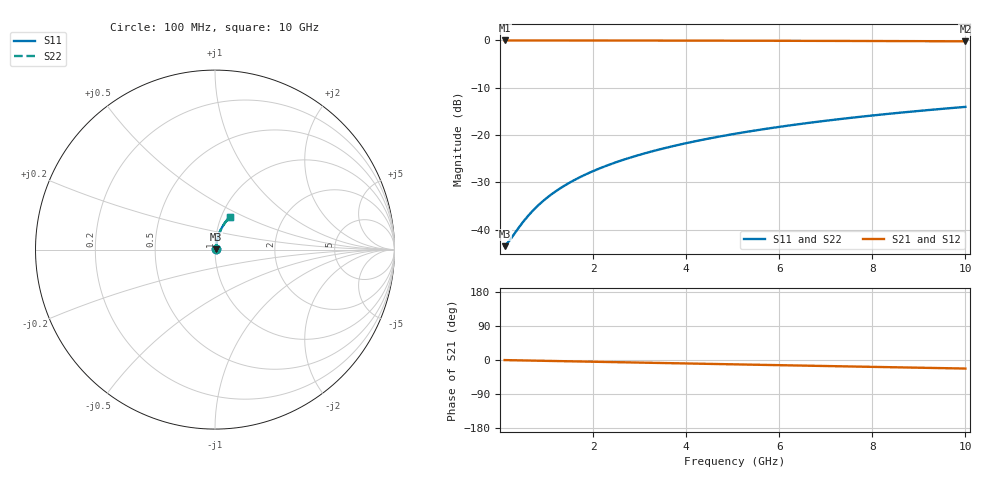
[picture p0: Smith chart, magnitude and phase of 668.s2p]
# Hz S RI R 50.00
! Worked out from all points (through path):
!   100 points, 100 MHz to 10 GHz, reference 50 ohm
!   highest |S21| = -0.06 dB at 100 MHz (marker M1); lowest = -0.2 dB at 10 GHz (marker M2)
!   group delay of S21, straight-line fit = 6.27 ps
!   lowest |S11| = -43.4 dB at 100 MHz (marker M3), VSWR 1.01, Z = 50.6 + j0.206 ohm
!   |S11| at or under -10 dB: start of sweep to end of sweep
!   |S22| runs from -43.4 to -14.1 dB; largest |S21 - S12| = 0
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1e8  0.00642 0.00203  0.9936 -0.00396  0.9936 -0.00396  0.00642 0.00203
2e8  0.00649 0.00406  0.9935 -0.00791  0.9935 -0.00791  0.00649 0.00406
4e8  0.00664 0.00812  0.9933 -0.0158  0.9933 -0.0158  0.00664 0.00812
5e8  0.00673 0.0102  0.9932 -0.0198  0.9932 -0.0198  0.00673 0.0102
6e8  0.00684 0.0122  0.9931 -0.0237  0.9931 -0.0237  0.00684 0.0122
7e8  0.00696 0.0142  0.9929 -0.0277  0.9929 -0.0277  0.00696 0.0142
9e8  0.00725 0.0183  0.9926 -0.0356  0.9926 -0.0356  0.00725 0.0183
1.1e9  0.0076 0.0223  0.9922 -0.0435  0.9922 -0.0435  0.0076 0.0223
1.3e9  0.00801 0.0263  0.9917 -0.0514  0.9917 -0.0514  0.00801 0.0263
1.5e9  0.00848 0.0304  0.9911 -0.0593  0.9911 -0.0593  0.00848 0.0304
1.8e9  0.00931 0.0364  0.9901 -0.0711  0.9901 -0.0711  0.00931 0.0364
2.1e9  0.0103 0.0424  0.9889 -0.0829  0.9889 -0.0829  0.0103 0.0424
2.5e9  0.0118 0.0504  0.987 -0.0985  0.987 -0.0985  0.0118 0.0504
2.9e9  0.0135 0.0583  0.9848 -0.1141  0.9848 -0.1141  0.0135 0.0583
3.4e9  0.0161 0.0681  0.9817 -0.1336  0.9817 -0.1336  0.0161 0.0681
4.2e9  0.0209 0.0835  0.9757 -0.1644  0.9757 -0.1644  0.0209 0.0835
5.1e9  0.0275 0.1003  0.9675 -0.1986  0.9675 -0.1986  0.0275 0.1003
5.9e9  0.0344 0.1149  0.959 -0.2286  0.959 -0.2286  0.0344 0.1149
6.7e9  0.0421 0.1289  0.9494 -0.2581  0.9494 -0.2581  0.0421 0.1289
7.5e9  0.0507 0.1423  0.9387 -0.287  0.9387 -0.287  0.0507 0.1423
8.4e9  0.0612 0.1567  0.9254 -0.3188  0.9254 -0.3188  0.0612 0.1567
1e10  0.0822 0.1802  0.8988 -0.3733  0.8988 -0.3733  0.0822 0.1802
